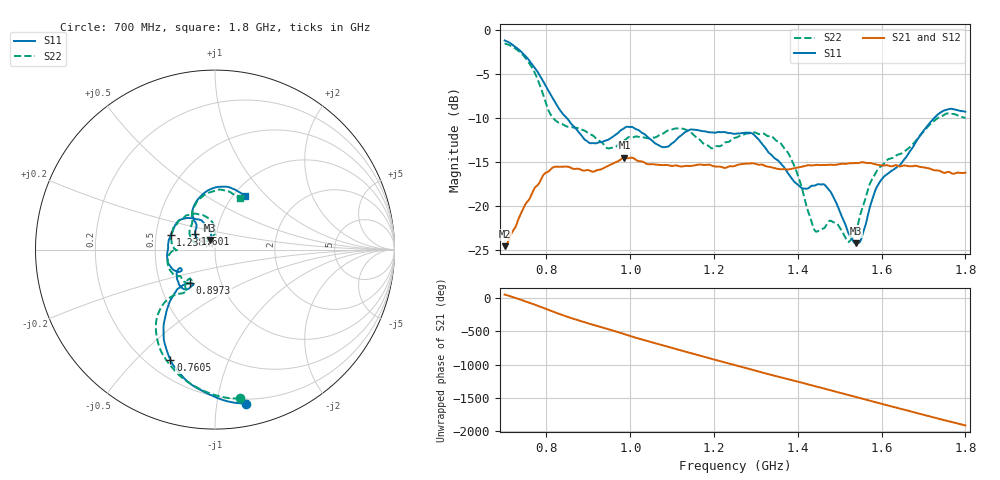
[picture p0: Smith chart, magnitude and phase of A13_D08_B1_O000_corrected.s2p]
! Created with skrf 1.9.0 (http://scikit-rf.org).
# Hz S RI R 50.0
!freq ReS11 ImS11 ReS21 ImS21 ReS12 ImS12 ReS22 ImS22
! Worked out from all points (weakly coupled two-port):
!   1601 points, 700 MHz to 1.8 GHz, reference 50 ohm
!   highest |S21| = -14.51 dB at 986 MHz (marker M1); lowest = -24.6 dB at 700.7 MHz (marker M2)
!   lowest |S11| = -24.3 dB at 1.538 GHz (marker M3), VSWR 1.13, Z = 46.9 + j5.07 ohm
!   |S11| at or under -10 dB: 848.5 MHz to 1.726 GHz (877.1 MHz wide, 68.1 % of centre)
!   |S22| runs from -24.1 to -1.5 dB; largest |S21 - S12| = 0.0037
!   S11 on the Smith chart (normalised r, x): 700 MHz: 0.17, -1.21; 760.5 MHz: 0.29, -0.64; 897.3 MHz: 0.71, -0.28; 1.238 GHz: 0.60, +0.10; 1.601 GHz: 0.79, +0.14; 1.8 GHz: 1.12, +0.76
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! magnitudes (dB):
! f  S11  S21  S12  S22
! 700 MHz  -1.2  -24.6  -24.4  -1.5
! 700.7 MHz  -1.2  -24.6  -24.3  -1.5
! 760.5 MHz  -3.6  -19.1  -19.0  -3.9
! 814.8 MHz  -7.7  -15.7  -15.7  -9.9
! 883.6 MHz  -12.0  -15.9  -15.8  -11.3
! 897.3 MHz  -12.7  -15.9  -16.0  -11.6
! 946.8 MHz  -12.5  -15.5  -15.5  -13.5
! 986 MHz  -11.1  -14.5  -14.6  -12.6
! 1.067 GHz  -13.1  -15.4  -15.3  -12.0
! 1.238 GHz  -11.7  -15.5  -15.6  -12.6
! 1.25 GHz  -11.8  -15.5  -15.4  -12.3
! 1.359 GHz  -15.2  -15.8  -15.8  -12.9
! 1.394 GHz  -17.4  -15.7  -15.7  -15.7
! 1.434 GHz  -17.7  -15.4  -15.4  -22.0
! 1.474 GHz  -18.2  -15.3  -15.4  -21.8
! 1.52 GHz  -23.1  -15.2  -15.2  -24.1
! 1.538 GHz  -24.3  -15.1  -15.1  -23.2
! 1.572 GHz  -20.2  -15.1  -15.1  -17.5
! 1.601 GHz  -17.0  -15.4  -15.4  -15.4
! 1.617 GHz  -16.3  -15.4  -15.4  -14.7
! 1.735 GHz  -9.6  -16.0  -16.1  -10.0
! 1.8 GHz  -9.3  -16.2  -16.2  -10.0
